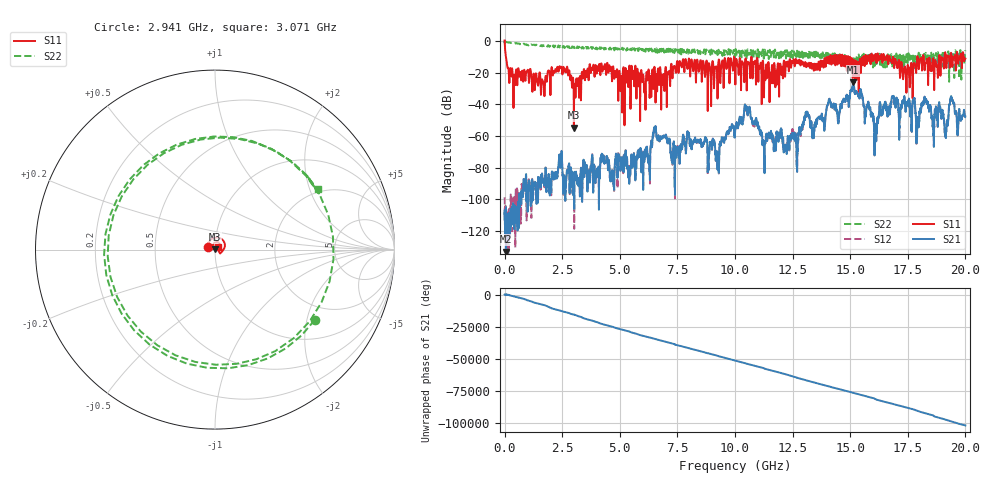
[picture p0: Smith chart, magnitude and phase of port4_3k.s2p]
! MS46122B
! 2250307/22442219
! 8/1/2025 10:32:57 AM
! C:\USERS\SPARKY\DOCUMENTS\VNA_DATA\AUGUST1_2025\3K\PORT4.S2P
! CHANNEL.1
! TR.MEASUREMENT
! RAW.DATA
# GHZ S RI R 50.0
! FREQ.GHZ  S11RE  S11IM  S21RE  S21IM  S12RE  S12IM  S22RE  S22IM
!; PortSelection: Port_12
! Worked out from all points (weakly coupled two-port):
!   10001 points, 1 MHz to 20 GHz, reference 50 ohm
!   highest |S21| = -26.16 dB at 15.13 GHz (marker M1); lowest = -133.0 dB at 57 MHz (marker M2)
!   lowest |S11| = -54.8 dB at 3.007 GHz (marker M3), VSWR 1.00, Z = 50 + j0.178 ohm
!   |S11| at or under -10 dB: 59.3 MHz to 10.71 GHz (10.65 GHz wide, 198 % of centre); 10.71 GHz to 14.05 GHz (3.336 GHz wide, 26.9 % of centre); 16.86 GHz to 17.91 GHz (1.043 GHz wide, 6 % of centre) (the widest 3 of 39)
!   |S22| runs from -25.7 to 0.1 dB; largest |S21 - S12| = 0.0018
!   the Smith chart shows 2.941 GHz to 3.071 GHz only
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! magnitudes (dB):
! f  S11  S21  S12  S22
! 1 MHz  0.4  -107.0  -98.7  -0.1
! 57 MHz  -9.8  -133.0  -108.1  -0.7
! 463 MHz  -27.6  -109.3  -116.3  -1.4
! 2.379 GHz  -16.2  -72.0  -72.2  -4.0
! 3.007 GHz  -54.8  -93.0  -92.9  -3.6
! 3.335 GHz  -23.2  -82.0  -82.9  -4.3
! 5.389 GHz  -20.2  -81.8  -80.9  -4.8
! 6.669 GHz  -17.4  -59.8  -60.1  -4.7
! 9.229 GHz  -22.3  -72.6  -72.5  -7.6
! 10 GHz  -16.7  -56.9  -57.6  -7.2
! 10.53 GHz  -17.7  -43.8  -44.1  -7.0
! 11.26 GHz  -35.5  -68.9  -68.7  -10.1
! 12.18 GHz  -19.4  -67.8  -67.4  -6.1
! 13.1 GHz  -16.3  -44.5  -44.3  -9.6
! 13.33 GHz  -17.3  -54.9  -55.3  -9.0
! 15.13 GHz  -15.0  -26.2  -26.2  -13.0
! 16.11 GHz  -8.6  -60.6  -60.7  -8.4
! 16.67 GHz  -12.7  -41.8  -42.0  -12.9
! 17.51 GHz  -15.6  -39.1  -39.0  -9.1
! 17.93 GHz  -9.7  -49.1  -48.9  -14.7
! 18.25 GHz  -14.9  -37.3  -37.3  -11.2
! 20 GHz  -11.0  -47.6  -48.3  -5.8
